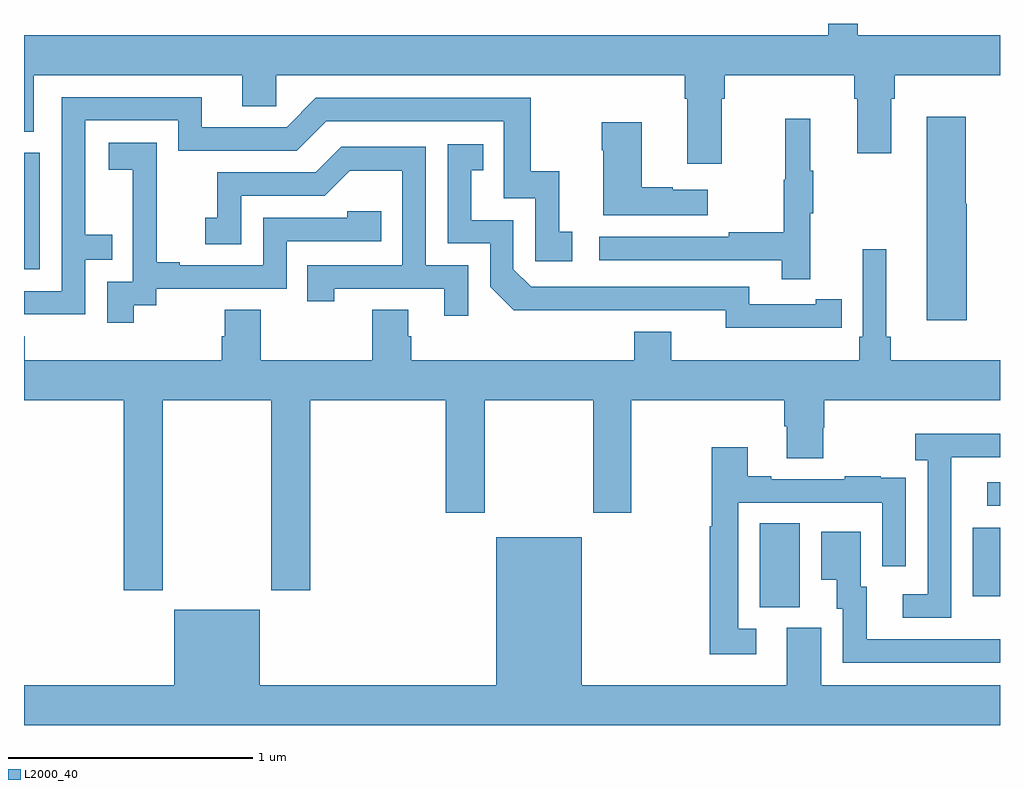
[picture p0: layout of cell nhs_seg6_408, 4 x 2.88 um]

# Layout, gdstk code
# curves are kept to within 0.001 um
import gdstk
lib = gdstk.Library(unit=1e-6, precision=1e-09)
def R(c, l, rs):  # rectangles x0, y0, x1, y1
    for r in rs: c.add(gdstk.rectangle(r[:2], r[2:], *l))
def P(c, l, *ps):  # polygons
    for p in ps: c.add(gdstk.Polygon(p, *l))
L2000_40 = (2000, 40)

nhs_seg6_408 = lib.new_cell('nhs_seg6_408')
R(nhs_seg6_408, L2000_40, [(136.016,993.109,136.18,993.452), (136.889,993.153,137,993.433), (136.947,993.525,137,993.621), (133,994.494,133.065,994.971)])
P(nhs_seg6_408, L2000_40, [(135.859,995.192),(135.872,995.192),(135.872,995.288),(136.403,995.288),(136.403,995.192),(136.415,995.192),(136.415,994.968),(136.555,994.968),(136.555,995.192),(136.568,995.192),(136.568,995.288),(137,995.288),(137,995.452),(136.417,995.452),(136.417,995.5),(136.296,995.5),(136.296,995.452),(133,995.452),(133,995.056),(133.039,995.056),(133.039,995.288),(133.895,995.288),(133.895,995.161),(134.034,995.161),(134.034,995.288),(135.707,995.288),(135.707,995.192),(135.719,995.192),(135.719,994.926),(135.859,994.926)],
  [(133.251,994.533),(133.361,994.533),(133.361,994.634),(133.251,994.634),(133.251,995.103),(133.632,995.103),(133.632,994.98),(134.118,994.98),(134.238,995.1),(134.967,995.1),(134.967,994.785),(135.096,994.785),(135.096,994.527),(135.247,994.527),(135.247,994.647),(135.194,994.647),(135.194,994.894),(135.076,994.894),(135.076,995.196),(134.196,995.196),(134.076,995.076),(133.729,995.076),(133.729,995.199),(133.155,995.199),(133.155,994.404),(133,994.404),(133,994.308),(133.251,994.308)],
  [(136.864,994.761),(136.859,994.761),(136.859,995.119),(136.7,995.119),(136.7,994.284),(136.864,994.284)],
  [(136.223,994.723),(136.234,994.723),(136.234,994.897),(136.223,994.897),(136.223,995.11),(136.12,995.11),(136.12,994.86),(136.113,994.86),(136.113,994.646),(135.889,994.646),(135.889,994.626),(135.357,994.626),(135.357,994.53),(136.105,994.53),(136.105,994.452),(136.223,994.452)],
  [(135.802,994.819),(135.659,994.819),(135.659,994.829),(135.532,994.829),(135.532,995.095),(135.367,995.095),(135.367,994.982),(135.374,994.982),(135.374,994.715),(135.802,994.715)],
  [(133.45,994.345),(133.542,994.345),(133.542,994.413),(134.076,994.413),(134.076,994.608),(134.465,994.608),(134.465,994.731),(134.325,994.731),(134.325,994.704),(133.98,994.704),(133.98,994.509),(133.639,994.509),(133.639,994.522),(133.544,994.522),(133.544,994.805),(133.545,994.805),(133.545,995.011),(133.347,995.011),(133.347,994.901),(133.445,994.901),(133.445,994.673),(133.446,994.673),(133.446,994.443),(133.341,994.443),(133.341,994.275),(133.45,994.275)],
  [(136.244,994.254),(136.352,994.254),(136.352,994.37),(136.244,994.37),(136.244,994.35),(135.972,994.35),(135.972,994.422),(135.078,994.422),(135.006,994.494),(135.006,994.695),(134.833,994.695),(134.833,994.899),(134.882,994.899),(134.882,995.005),(134.736,995.005),(134.736,994.599),(134.91,994.599),(134.91,994.422),(135.008,994.325),(135.876,994.326),(135.876,994.253)],
  [(134.82,994.509),(134.646,994.509),(134.646,994.995),(134.3,994.995),(134.195,994.89),(133.792,994.89),(133.792,994.705),(133.743,994.705),(133.743,994.596),(133.89,994.596),(133.89,994.794),(134.232,994.794),(134.336,994.898),(134.55,994.898),(134.55,994.509),(134.161,994.509),(134.161,994.362),(134.272,994.362),(134.272,994.413),(134.723,994.413),(134.723,994.302),(134.82,994.302)],
  [(137,994.12),(136.553,994.12),(136.553,994.216),(136.534,994.216),(136.534,994.576),(136.437,994.576),(136.437,994.216),(136.424,994.216),(136.424,994.12),(135.652,994.12),(135.652,994.237),(135.5,994.237),(135.5,994.12),(134.588,994.12),(134.588,994.218),(134.575,994.218),(134.575,994.328),(134.428,994.328),(134.428,994.12),(133.971,994.12),(133.971,994.328),(133.823,994.328),(133.823,994.218),(133.811,994.218),(133.811,994.12),(133.004,994.12),(133.004,994.219),(133,994.219),(133,993.956),(133.409,993.956),(133.409,993.177),(133.569,993.177),(133.569,993.956),(134.014,993.956),(134.014,993.177),(134.174,993.177),(134.174,993.956),(134.729,993.956),(134.729,993.495),(134.889,993.495),(134.889,993.956),(135.334,993.956),(135.334,993.495),(135.489,993.495),(135.489,993.956),(136.115,993.956),(136.115,993.85),(136.127,993.85),(136.127,993.718),(136.275,993.718),(136.275,993.843),(136.28,993.843),(136.28,993.956),(137,993.956)],
  [(136.8,993.723),(137,993.723),(137,993.82),(136.653,993.82),(136.653,993.71),(136.704,993.71),(136.704,993.162),(136.602,993.162),(136.602,993.066),(136.8,993.066)],
  [(136,993.021),(135.927,993.021),(135.927,993.537),(136.518,993.537),(136.518,993.276),(136.614,993.276),(136.614,993.53),(136.613,993.53),(136.613,993.639),(136.511,993.639),(136.511,993.646),(136.363,993.646),(136.363,993.633),(136.063,993.633),(136.063,993.646),(135.967,993.646),(135.967,993.763),(135.819,993.763),(135.819,993.44),(135.811,993.44),(135.811,992.916),(136,992.916)],
  [(137,992.977),(136.937,992.977),(136.937,992.976),(136.453,992.976),(136.453,993.192),(136.429,993.192),(136.429,993.418),(136.268,993.418),(136.268,993.221),(136.331,993.221),(136.331,993.102),(136.356,993.102),(136.356,992.88),(137,992.88)],
  [(137,992.788),(136.267,992.788),(136.267,993.024),(136.127,993.024),(136.127,992.788),(135.286,992.788),(135.286,993.394),(134.936,993.394),(134.936,992.788),(133.966,992.788),(133.966,993.097),(133.616,993.097),(133.616,992.788),(133,992.788),(133,992.624),(137,992.624)])

lib.write_gds('nhs_seg6_408.gds')
